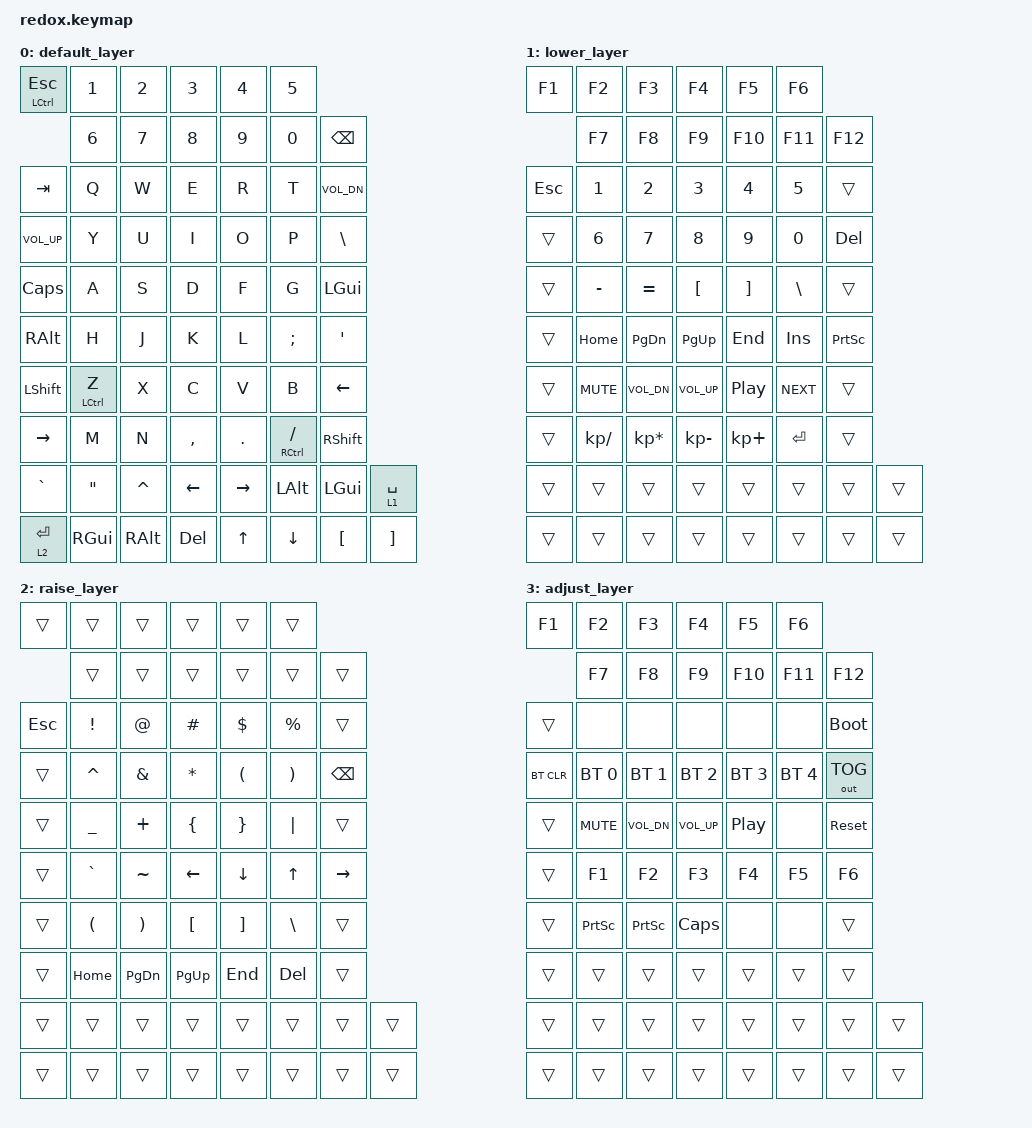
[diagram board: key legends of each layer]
/*
 * Copyright (c) 2021 The ZMK Contributors
 *
 * SPDX-License-Identifier: MIT
 */

#include <behaviors.dtsi>
#include <dt-bindings/zmk/bt.h>
#include <dt-bindings/zmk/keys.h>
#include <dt-bindings/zmk/outputs.h>

/ {
    keymap {
        compatible = "zmk,keymap";

                default_layer {
                    bindings = <
        &mt LCTRL ESC  &kp N1      &kp N2      &kp N3      &kp N4      &kp N5
                       &kp N6      &kp N7      &kp N8      &kp N9      &kp N0      &kp BSPC

        &kp TAB        &kp Q       &kp W       &kp E       &kp R       &kp T       &kp C_VOL_DN
        &kp C_VOL_UP   &kp Y       &kp U       &kp I       &kp O       &kp P       &kp BSLH

        &kp CLCK       &kp A       &kp S       &kp D       &kp F       &kp G       &kp LGUI
        &kp RALT       &kp H       &kp J       &kp K       &kp L       &kp SEMI    &kp SQT

        &kp LSHFT      &mt LCTRL Z &kp X       &kp C       &kp V       &kp B       &kp LEFT
        &kp RIGHT      &kp M       &kp N       &kp COMMA   &kp DOT     &mt RCTRL FSLH &kp RSHFT

        &kp GRAVE      &kp DQT     &kp CARET   &kp LEFT    &kp RIGHT   &kp LALT    &kp LGUI    &lt 1 SPACE
        &lt 2 RET        &kp RGUI    &kp RALT    &kp DEL     &kp UP      &kp DOWN    &kp LBKT    &kp RBKT
                    >;
                };

                lower_layer {
                    bindings = <
        &kp F1         &kp F2         &kp F3         &kp F4         &kp F5           &kp F6
        &kp F7         &kp F8         &kp F9         &kp F10        &kp F11          &kp F12

        &kp ESC        &kp N1         &kp N2         &kp N3         &kp N4           &kp N5         &trans
        &trans         &kp N6         &kp N7         &kp N8         &kp N9           &kp N0         &kp DEL

        &trans         &kp MINUS      &kp EQUAL      &kp LBKT       &kp RBKT         &kp BSLH       &trans
        &trans         &kp HOME       &kp PG_DN      &kp PG_UP      &kp END          &kp INS        &kp PSCRN

        &trans         &kp C_MUTE     &kp C_VOL_DN   &kp C_VOL_UP   &kp C_PLAY_PAUSE &kp C_NEXT     &trans
        &trans         &kp KP_DIVIDE  &kp KP_MULTIPLY &kp KP_MINUS  &kp KP_PLUS      &kp RET        &trans

        &trans         &trans         &trans         &trans         &trans           &trans         &trans      &trans
        &trans         &trans         &trans         &trans         &trans           &trans         &trans      &trans
                    >;
                };

                raise_layer {
                    bindings = <
        &trans         &trans         &trans         &trans         &trans           &trans
        &trans         &trans         &trans         &trans         &trans           &trans

        &kp ESC        &kp EXCL       &kp AT         &kp HASH       &kp DLLR         &kp PRCNT      &trans
        &trans         &kp CARET      &kp AMPS       &kp ASTRK      &kp LPAR         &kp RPAR       &kp BSPC

        &trans         &kp UNDER      &kp PLUS       &kp LBRC       &kp RBRC         &kp PIPE       &trans
        &trans         &kp GRAVE      &kp TILDE      &kp LEFT       &kp DOWN         &kp UP         &kp RIGHT

        &trans         &kp LPAR       &kp RPAR       &kp LBKT       &kp RBKT         &kp BSLH       &trans
        &trans         &kp HOME       &kp PG_DN      &kp PG_UP      &kp END          &kp DEL        &trans

        &trans         &trans         &trans         &trans         &trans           &trans         &trans      &trans
        &trans         &trans         &trans         &trans         &trans           &trans         &trans      &trans
                    >;
                };

                adjust_layer {
                    bindings = <
        &kp F1  &kp F2      &kp F3        &kp F4        &kp F5            &kp F6
        &kp F7  &kp F8      &kp F9        &kp F10       &kp F11           &kp F12

        &trans  &none       &none         &none         &none             &none   &bootloader
        &bt BT_CLR  &bt BT_SEL 0  &bt BT_SEL 1  &bt BT_SEL 2  &bt BT_SEL 3  &bt BT_SEL 4  &out OUT_TOG

        &trans  &kp K_MUTE  &kp C_VOL_DN  &kp C_VOL_UP  &kp C_PLAY_PAUSE  &none   &sys_reset
        &trans  &kp F1      &kp F2        &kp F3        &kp F4            &kp F5   &kp F6

        &trans  &kp PSCRN   &kp PSCRN     &kp CLCK      &none             &none   &trans
        &trans  &trans      &trans        &trans        &trans            &trans  &trans

        &trans  &trans      &trans        &trans        &trans            &trans  &trans  &trans
        &trans  &trans      &trans        &trans        &trans            &trans  &trans  &trans
                    >;
                };
            };
        };
